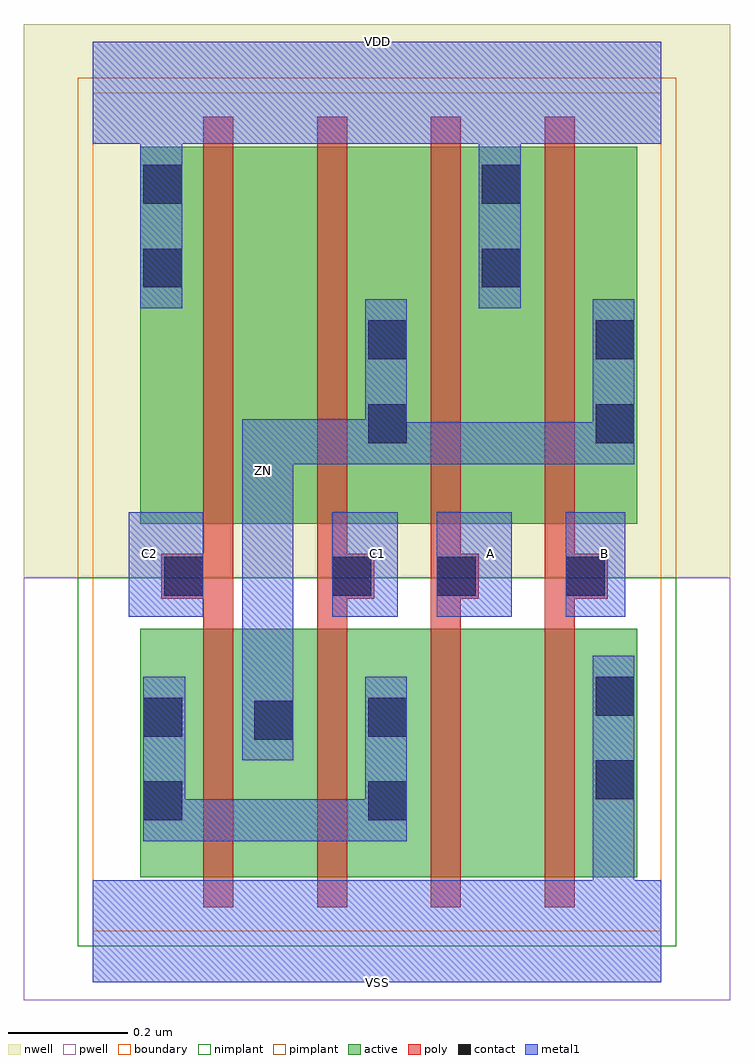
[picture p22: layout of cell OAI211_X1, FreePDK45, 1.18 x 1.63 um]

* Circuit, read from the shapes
.subckt OAI211_X1 A B C1 C2 VDD VSS ZN
M1 ZN C2 n1 VSUBS nfet w=0.415u l=0.05u
M2 n1 C1 ZN VSUBS nfet w=0.415u l=0.05u
M3 n2 A n1 VSUBS nfet w=0.415u l=0.05u
M4 VSS B n2 VSUBS nfet w=0.415u l=0.05u
M5 n3 C2 VDD n4 pfet w=0.63u l=0.05u
M6 ZN C1 n3 n4 pfet w=0.63u l=0.05u
M7 VDD A ZN n4 pfet w=0.63u l=0.05u
M8 ZN B VDD n4 pfet w=0.63u l=0.05u
.ends

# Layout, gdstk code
import gdstk
lib = gdstk.Library(unit=1e-6, precision=5e-10)
def R(c, l, rs):  # rectangles x0, y0, x1, y1
    for r in rs: c.add(gdstk.rectangle(r[:2], r[2:], *l))
def P(c, l, *ps):  # polygons
    for p in ps: c.add(gdstk.Polygon(p, *l))
active = (1, 0)
pwell = (2, 0)
nwell = (3, 0)
nimplant = (4, 0)
pimplant = (5, 0)
poly = (9, 0)
contact = (10, 0)
metal1 = (11, 0)
boundary = (235, 0)

oai211_x1 = lib.new_cell('OAI211_X1')
R(oai211_x1, active, [(0.08,0.09,0.91,0.505), (0.08,0.68,0.91,1.31)])
R(oai211_x1, pwell, [(-0.115,-0.115,1.065,0.59)])
R(oai211_x1, nwell, [(-0.115,0.59,1.065,1.515)])
R(oai211_x1, nimplant, [(-0.025,-0.025,0.975,0.59)])
R(oai211_x1, pimplant, [(-0.025,0.59,0.975,1.425)])
P(oai211_x1, poly, [(0.755,0.04),(0.805,0.04),(0.805,0.555),(0.86,0.555),(0.86,0.63),(0.805,0.63),(0.805,1.36),(0.755,1.36)],
  [(0.565,0.04),(0.615,0.04),(0.615,0.555),(0.645,0.555),(0.645,0.63),(0.615,0.63),(0.615,1.36),(0.565,1.36)],
  [(0.375,0.04),(0.425,0.04),(0.425,0.555),(0.47,0.555),(0.47,0.63),(0.425,0.63),(0.425,1.36),(0.375,1.36)],
  [(0.115,0.555),(0.185,0.555),(0.185,0.04),(0.235,0.04),(0.235,1.36),(0.185,1.36),(0.185,0.63),(0.115,0.63)])
R(oai211_x1, contact, [(0.085,0.185,0.15,0.25), (0.46,0.185,0.525,0.25), (0.84,0.22,0.905,0.285), (0.27,0.32,0.335,0.385), (0.085,0.325,0.15,0.39), (0.46,0.325,0.525,0.39), (0.84,0.36,0.905,0.425), (0.12,0.56,0.185,0.625), (0.4,0.56,0.465,0.625), (0.575,0.56,0.64,0.625), (0.79,0.56,0.855,0.625), (0.46,0.815,0.525,0.88), (0.84,0.815,0.905,0.88), (0.46,0.955,0.525,1.02), (0.84,0.955,0.905,1.02), (0.085,1.075,0.15,1.14), (0.65,1.075,0.715,1.14), (0.085,1.215,0.15,1.28), (0.65,1.215,0.715,1.28)])
R(oai211_x1, metal1, [(0.06,0.525,0.185,0.7), (0.06,0.525,0.185,0.7), (0.4,0.525,0.51,0.7), (0.4,0.525,0.51,0.7), (0.575,0.525,0.7,0.7), (0.575,0.525,0.7,0.7), (0.79,0.525,0.89,0.7), (0.79,0.525,0.89,0.7)])
P(oai211_x1, metal1, [(0,-0.085),(0.95,-0.085),(0.95,0.085),(0.905,0.085),(0.905,0.46),(0.835,0.46),(0.835,0.085),(0,0.085)],
  [(0,1.315),(0.08,1.315),(0.08,1.04),(0.15,1.04),(0.15,1.315),(0.645,1.315),(0.645,1.04),(0.715,1.04),(0.715,1.315),(0.95,1.315),(0.95,1.485),(0,1.485)],
  [(0.25,0.285),(0.335,0.285),(0.335,0.78),(0.905,0.78),(0.905,1.055),(0.835,1.055),(0.835,0.85),(0.525,0.85),(0.525,1.055),(0.455,1.055),(0.455,0.855),(0.25,0.855)],
  [(0,1.315),(0.08,1.315),(0.08,1.04),(0.15,1.04),(0.15,1.315),(0.645,1.315),(0.645,1.04),(0.715,1.04),(0.715,1.315),(0.95,1.315),(0.95,1.485),(0,1.485)],
  [(0,-0.085),(0.95,-0.085),(0.95,0.085),(0.905,0.085),(0.905,0.46),(0.835,0.46),(0.835,0.085),(0,0.085)],
  [(0.25,0.285),(0.335,0.285),(0.335,0.78),(0.905,0.78),(0.905,1.055),(0.835,1.055),(0.835,0.85),(0.525,0.85),(0.525,1.055),(0.455,1.055),(0.455,0.855),(0.25,0.855)],
  [(0.085,0.15),(0.525,0.15),(0.525,0.425),(0.455,0.425),(0.455,0.22),(0.155,0.22),(0.155,0.425),(0.085,0.425)])
R(oai211_x1, boundary, [(0,0,0.95,1.4)])
oai211_x1.add(gdstk.Label('ZN', (0.285,0.77), layer=11, texttype=0))
oai211_x1.add(gdstk.Label('VSS', (0.475,-0.085), layer=11, texttype=0))
oai211_x1.add(gdstk.Label('VDD', (0.475,1.485), layer=11, texttype=0))
oai211_x1.add(gdstk.Label('C2', (0.095,0.63), layer=11, texttype=0))
oai211_x1.add(gdstk.Label('C1', (0.475,0.63), layer=11, texttype=0))
oai211_x1.add(gdstk.Label('B', (0.855,0.63), layer=11, texttype=0))
oai211_x1.add(gdstk.Label('A', (0.665,0.63), layer=11, texttype=0))

lib.write_gds('OAI211_X1.gds')
